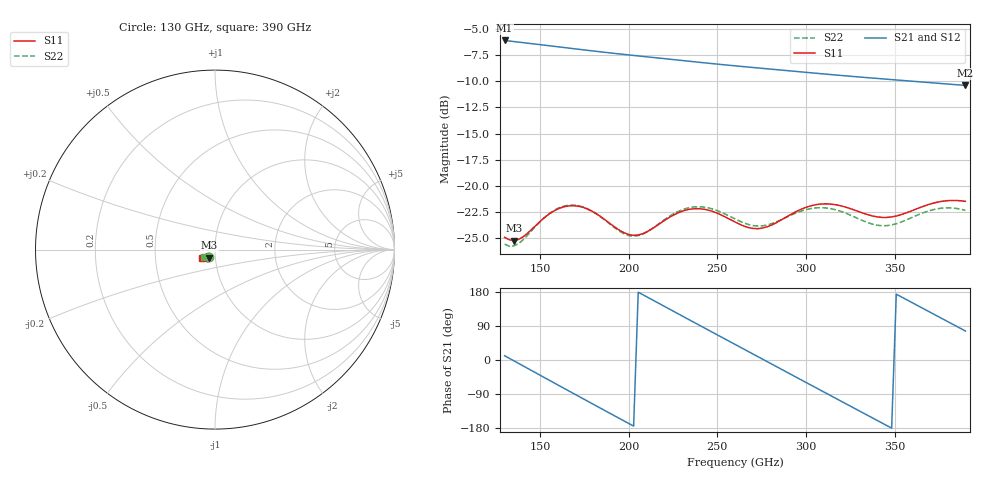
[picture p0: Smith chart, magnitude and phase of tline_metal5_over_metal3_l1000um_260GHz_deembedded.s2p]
! Created with skrf 2.2.0 (http://scikit-rf.org).
# GHz S DB R 50.0
! Port[1] = P1
! Port[2] = P2
!freq dBS11 angS11 dBS21 angS21 dBS12 angS12 dBS22 angS22
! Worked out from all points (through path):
!   101 points, 130 GHz to 390 GHz, reference 50 ohm
!   highest |S21| = -6.07 dB at 130 GHz (marker M1); lowest = -10.4 dB at 390 GHz (marker M2)
!   group delay of S21, straight-line fit = 6.99 ps
!   lowest |S11| = -25.3 dB at 135.2 GHz (marker M3), VSWR 1.12, Z = 46.8 - j4.21 ohm
!   |S11| at or under -10 dB: start of sweep to end of sweep
!   |S22| runs from -25.8 to -21.9 dB; largest |S21 - S12| = 8.1e-14
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130  -24.94 -131.2  -6.07 11.3  -6.07 11.3  -25.61 -127.6
135.2  -25.26 -124.7  -6.18 -2.0  -6.18 -2.0  -25.78 -119.7
145.6  -24.14 -115.8  -6.39 -28.8  -6.39 -28.8  -24.25 -110.6
156  -22.62 -118.4  -6.60 -55.5  -6.60 -55.5  -22.57 -114.5
166.4  -21.93 -126.9  -6.81 -82.1  -6.81 -82.1  -21.87 -124.1
174.2  -22.08 -133.8  -6.97 -102.0  -6.97 -102.0  -22.04 -131.5
187.2  -23.34 -140.7  -7.22 -135.0  -7.22 -135.0  -23.38 -138.7
197.6  -24.53 -137.8  -7.42 -161.3  -7.42 -161.3  -24.63 -135.4
208  -24.60 -129.6  -7.60 172.3  -7.60 172.3  -24.64 -126.8
218.4  -23.54 -125.9  -7.79 146.0  -7.79 146.0  -23.48 -123.2
228.8  -22.54 -129.1  -7.97 119.7  -7.97 119.7  -22.40 -126.8
239.2  -22.20 -135.5  -8.16 93.5  -8.16 93.5  -22.02 -133.6
249.6  -22.61 -141.2  -8.34 67.4  -8.34 67.4  -22.37 -139.8
260  -23.48 -142.6  -8.51 41.2  -8.51 41.2  -23.19 -142.1
270.4  -24.11 -138.1  -8.67 15.2  -8.67 15.2  -23.83 -139.0
280.8  -23.76 -132.0  -8.83 -10.9  -8.83 -10.9  -23.63 -134.1
304.2  -21.87 -135.1  -9.20 -69.6  -9.20 -69.6  -22.15 -137.6
322.4  -22.06 -143.5  -9.47 -115.0  -9.47 -115.0  -22.63 -145.5
335.4  -22.80 -144.2  -9.65 -147.4  -9.65 -147.4  -23.57 -144.9
348.4  -22.99 -139.7  -9.83 -179.9  -9.83 -179.9  -23.76 -138.6
371.8  -21.68 -139.2  -10.14 121.8  -10.14 121.8  -22.30 -137.8
390  -21.50 -146.2  -10.38 76.5  -10.38 76.5  -22.36 -144.8
